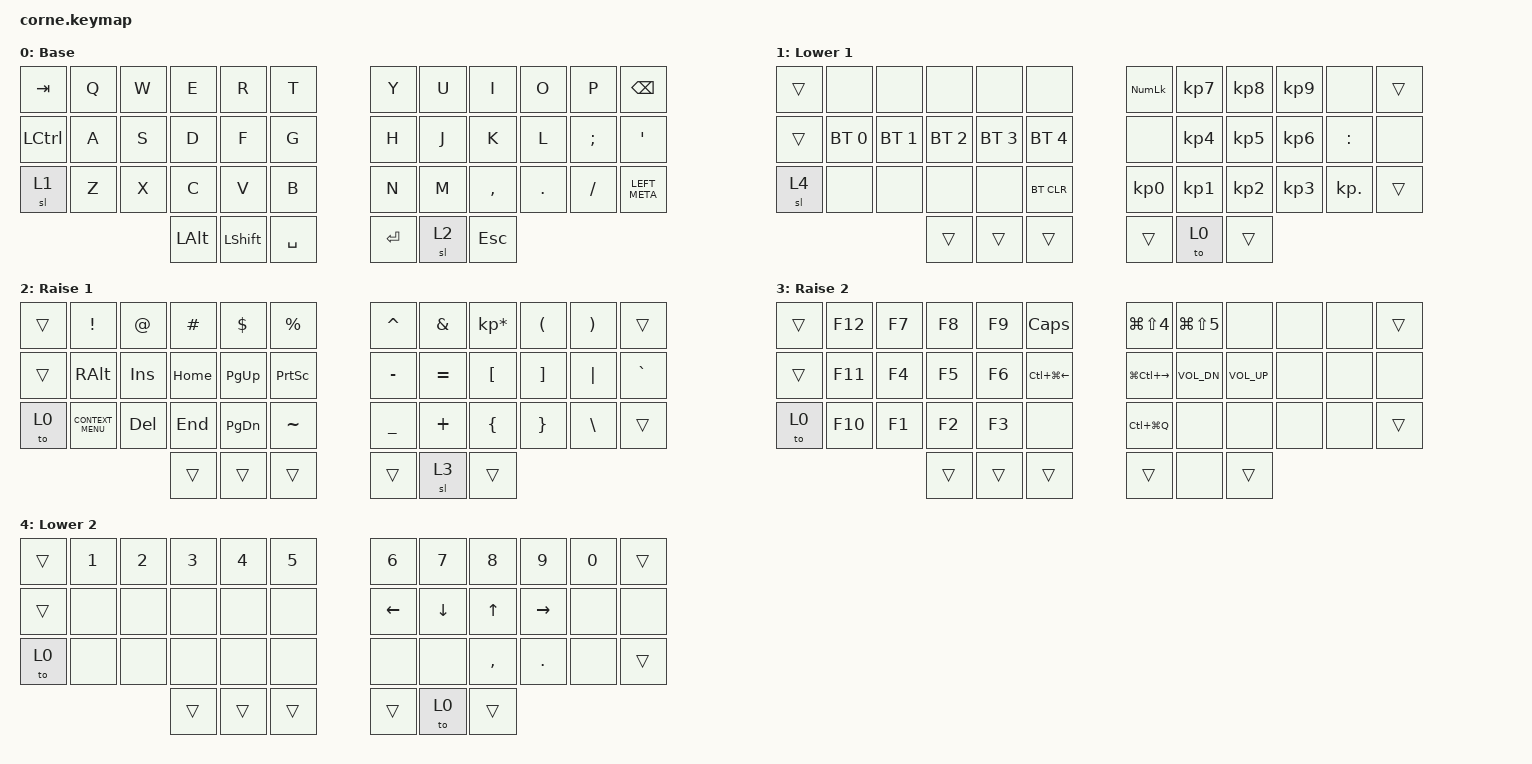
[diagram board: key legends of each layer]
/*
 * Copyright (c) 2020 The ZMK Contributors
 *
 * SPDX-License-Identifier: MIT
 */

#include <behaviors.dtsi>
#include <dt-bindings/zmk/bt.h>
#include <dt-bindings/zmk/keys.h>

/ {
    combos { compatible = "zmk,combos"; };

    keymap {
        compatible = "zmk,keymap";

        base {
            // -----------------------------------------------------------------------------------------
            // |  TAB |  Q  |  W  |  E  |  R  |  T  |   |  Y  |  U   |  I  |  O  |  P  | BKSP |
            // | CTRL |  A  |  S  |  D  |  F  |  G  |   |  H  |  J   |  K  |  L  |  ;  |  '   |
            // | SHFT |  Z  |  X  |  C  |  V  |  B  |   |  N  |  M   |  ,  |  .  |  /  | ESC  |
            //                    | GUI | LWR | SPC |   | ENT | RSE  | ALT |

            display-name = "Base";
            bindings = <
&kp TAB    &kp Q  &kp W  &kp E         &kp R           &kp T        &kp Y      &kp U  &kp I       &kp O    &kp P     &kp BACKSPACE
&kp LCTRL  &kp A  &kp S  &kp D         &kp F           &kp G        &kp H      &kp J  &kp K       &kp L    &kp SEMI  &kp SQT
&sl 1      &kp Z  &kp X  &kp C         &kp V           &kp B        &kp N      &kp M  &kp COMMA   &kp DOT  &kp FSLH  &kp LEFT_META
                         &kp LEFT_ALT  &kp LEFT_SHIFT  &kp SPACE    &kp ENTER  &sl 2  &kp ESCAPE
            >;
        };

        l1 {
            // -----------------------------------------------------------------------------------------
            // |  TAB |  1  |  2  |  3  |  4  |  5  |   |  6  |  7  |  8  |  9  |  0  | BKSP |
            // | BTCLR| BT1 | BT2 | BT3 | BT4 | BT5 |   | LFT | DWN |  UP | RGT |     |      |
            // | SHFT |     |     |     |     |     |   |     |     |     |     |     |      |
            //                    | GUI |     | SPC |   | ENT |     | ALT |

            display-name = "Lower 1";
            bindings = <
&trans  &none         &none         &none         &none         &none           &kp KP_NUMLOCK   &kp KP_NUMBER_7  &kp KP_NUMBER_8  &kp KP_NUMBER_9  &none       &trans
&trans  &bt BT_SEL 0  &bt BT_SEL 1  &bt BT_SEL 2  &bt BT_SEL 3  &bt BT_SEL 4    &none            &kp KP_NUMBER_4  &kp KP_NUMBER_5  &kp KP_NUMBER_6  &kp COLON   &none
&sl 4   &none         &none         &none         &none         &bt BT_CLR      &kp KP_NUMBER_0  &kp KP_NUMBER_1  &kp KP_NUMBER_2  &kp KP_NUMBER_3  &kp KP_DOT  &trans
                                    &trans        &trans        &trans          &trans           &to 0            &trans
            >;
        };

        r1 {
            // -----------------------------------------------------------------------------------------
            // |  TAB |  !  |  @  |  #  |  $  |  %  |   |  ^  |  &  |  *  |  (  |  )  | BKSP |
            // | CTRL |     |     |     |     |     |   |  -  |  =  |  [  |  ]  |  \  |  `   |
            // | SHFT |     |     |     |     |     |   |  _  |  +  |  {  |  }  | "|" |  ~   |
            //                    | GUI |     | SPC |   | ENT |     | ALT |

            display-name = "Raise 1";
            bindings = <
&trans  &kp EXCL            &kp AT   &kp HASH  &kp DLLR       &kp PRCNT          &kp CARET  &kp AMPS   &kp KP_MULTIPLY  &kp LPAR  &kp RPAR       &trans
&trans  &kp RALT            &kp INS  &kp HOME  &kp PAGE_UP    &kp PRINTSCREEN    &kp MINUS  &kp EQUAL  &kp LBKT         &kp RBKT  &kp PIPE       &kp GRAVE
&to 0   &kp K_CONTEXT_MENU  &kp DEL  &kp END   &kp PAGE_DOWN  &kp TILDE          &kp UNDER  &kp PLUS   &kp LBRC         &kp RBRC  &kp BACKSLASH  &trans
                                     &trans    &trans         &trans             &trans     &sl 3      &trans
            >;
        };

        r2 {
            bindings = <
&trans  &kp F12  &kp F7  &kp F8  &kp F9  &kp CAPSLOCK        &kp LG(LS(NUMBER_4))  &kp LG(LS(N5))  &none            &none  &none  &trans
&trans  &kp F11  &kp F4  &kp F5  &kp F6  &kp LC(LG(LEFT))    &kp LG(LC(RIGHT))     &kp C_VOL_DN    &kp C_VOLUME_UP  &none  &none  &none
&to 0   &kp F10  &kp F1  &kp F2  &kp F3  &none               &kp LC(LG(Q))         &none           &none            &none  &none  &trans
                         &trans  &trans  &trans              &trans                &none           &trans
            >;

            label = "Raise 2";
        };

        L2 {
            bindings = <
&trans  &kp NUMBER_1  &kp NUMBER_2  &kp NUMBER_3  &kp NUMBER_4  &kp N5    &kp NUMBER_6  &kp N7          &kp N8        &kp N9      &kp N0  &trans
&trans  &none         &none         &none         &none         &none     &kp LEFT      &kp DOWN_ARROW  &kp UP_ARROW  &kp RIGHT   &none   &none
&to 0   &none         &none         &none         &none         &none     &none         &none           &kp COMMA     &kp PERIOD  &none   &trans
                                    &trans        &trans        &trans    &trans        &to 0           &trans
            >;

            label = "Lower 2";
        };
    };
};
